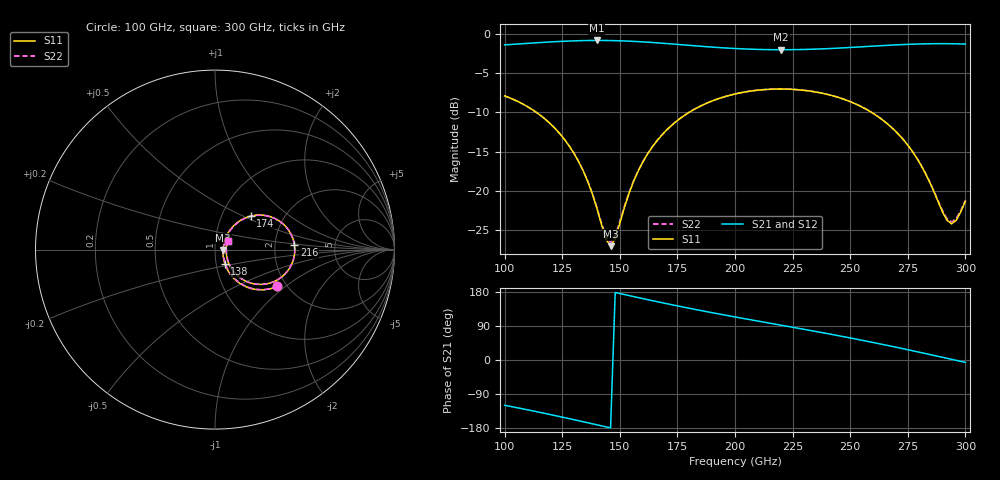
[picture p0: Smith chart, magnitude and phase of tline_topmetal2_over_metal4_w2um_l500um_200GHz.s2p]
#  GHZ S DB R 50
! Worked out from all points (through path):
!   101 points, 100 GHz to 300 GHz, reference 50 ohm
!   highest |S21| = -0.88 dB at 140 GHz (marker M1); lowest = -2.1 dB at 220 GHz (marker M2)
!   group delay of S21, straight-line fit = 3.36 ps
!   lowest |S11| = -27.0 dB at 146 GHz (marker M3), VSWR 1.09, Z = 54.7 - j0.191 ohm
!   |S11| at or under -10 dB: 113.7 GHz to 180.2 GHz (66.42 GHz wide, 45.2 % of centre); 259.2 GHz to end of sweep
!   |S22| runs from -26.6 to -7.0 dB; largest |S21 - S12| = 9.4e-14
!   S11 on the Smith chart (normalised r, x): 100 GHz: 1.78, -0.87; 138 GHz: 1.10, -0.18; 174 GHz: 1.37, +0.55; 216 GHz: 2.58, +0.15; 300 GHz: 1.14, +0.12
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100  -7.91 -30.7  -1.44 -119.5  -1.44 -119.5  -7.92 -30.5
120  -11.50 -50.5  -1.06 -144.2  -1.06 -144.2  -11.50 -50.1
128  -14.26 -56.7  -0.95 -154.7  -0.95 -154.7  -14.25 -56.1
134  -17.37 -58.4  -0.90 -162.8  -0.90 -162.8  -17.34 -57.4
138  -20.31 -55.2  -0.88 -168.2  -0.88 -168.2  -20.23 -53.9
140  -22.14 -50.5  -0.88 -170.9  -0.88 -170.9  -22.02 -49.0
144  -26.14 -25.6  -0.88 -176.4  -0.88 -176.4  -25.79 -24.2
146  -27.00 -2.2  -0.89 -179.1  -0.89 -179.1  -26.56 -1.9
148  -26.05 20.8  -0.90 178.2  -0.90 178.2  -25.67 20.0
158  -17.45 52.4  -1.02 164.7  -1.02 164.7  -17.39 51.5
168  -12.97 48.2  -1.22 151.6  -1.22 151.6  -12.95 47.6
174  -11.28 43.2  -1.35 144.1  -1.35 144.1  -11.27 42.8
200  -7.68 18.4  -1.90 113.7  -1.90 113.7  -7.67 18.3
216  -7.06 3.1  -2.05 96.2  -2.05 96.2  -7.06 3.0
220  -7.04 -0.7  -2.05 91.8  -2.05 91.8  -7.04 -0.8
234  -7.37 -14.0  -1.98 76.5  -1.98 76.5  -7.37 -14.1
252  -8.89 -31.2  -1.73 55.8  -1.73 55.8  -8.89 -31.1
268  -11.94 -45.1  -1.47 36.1  -1.47 36.1  -11.92 -44.9
280  -16.35 -49.7  -1.32 20.5  -1.32 20.5  -16.31 -49.2
292  -23.71 -16.7  -1.29 4.5  -1.29 4.5  -23.50 -16.3
296  -23.73 14.4  -1.31 -0.9  -1.31 -0.9  -23.51 13.9
300  -21.30 35.6  -1.34 -6.2  -1.34 -6.2  -21.16 34.8
